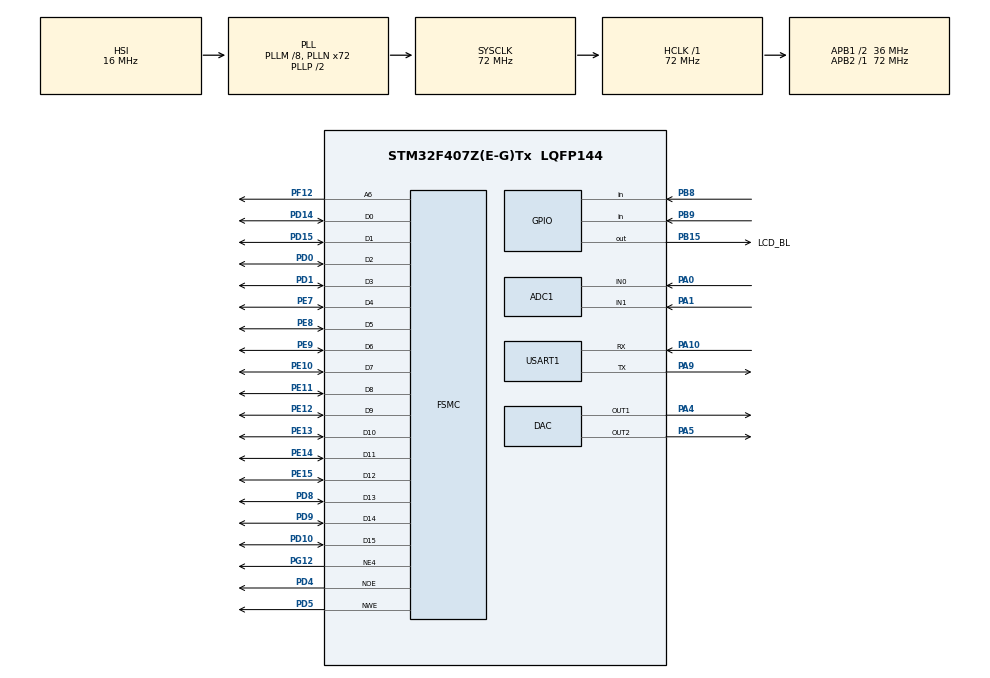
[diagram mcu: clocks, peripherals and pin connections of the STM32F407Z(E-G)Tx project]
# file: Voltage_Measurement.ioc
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ADC1.Channel-0\#ChannelRegularConversion=ADC_CHANNEL_0
ADC1.Channel-1\#ChannelRegularConversion=ADC_CHANNEL_1
ADC1.ContinuousConvMode=ENABLE
ADC1.DMAContinuousRequests=ENABLE
ADC1.NbrOfConversion=2
ADC1.NbrOfConversionFlag=1
ADC1.Rank-0\#ChannelRegularConversion=1
ADC1.Rank-1\#ChannelRegularConversion=2
ADC1.SamplingTime-0\#ChannelRegularConversion=ADC_SAMPLETIME_3CYCLES
ADC1.SamplingTime-1\#ChannelRegularConversion=ADC_SAMPLETIME_3CYCLES
ADC1.ScanConvMode=ENABLE
ADC1.master=1
Dma.ADC1.0.Direction=DMA_PERIPH_TO_MEMORY
Dma.ADC1.0.FIFOMode=DMA_FIFOMODE_DISABLE
Dma.ADC1.0.Instance=DMA2_Stream0
Dma.ADC1.0.MemDataAlignment=DMA_MDATAALIGN_WORD
Dma.ADC1.0.MemInc=DMA_MINC_ENABLE
Dma.ADC1.0.Mode=DMA_CIRCULAR
Dma.ADC1.0.PeriphDataAlignment=DMA_PDATAALIGN_WORD
Dma.ADC1.0.PeriphInc=DMA_PINC_DISABLE
Dma.ADC1.0.Priority=DMA_PRIORITY_LOW
Dma.Request0=ADC1
FSMC.BusTurnAroundDuration1=0
FSMC.DataSetupTime1=60
FSMC.ExtendedAddressSetupTime1=9
FSMC.ExtendedBusTurnAroundDuration1=0
FSMC.ExtendedDataSetupTime1=8
FSMC.ExtendedMode1=FSMC_EXTENDED_MODE_ENABLE
Mcu.Family=STM32F4
Mcu.Name=STM32F407Z(E-G)Tx
Mcu.Package=LQFP144
NVIC.DMA2_Stream0_IRQn=true\:0\:0\:false\:false\:true\:false\:true\:true
NVIC.PriorityGroup=NVIC_PRIORITYGROUP_4
PA0-WKUP.Signal=ADCx_IN0
PA1.Signal=ADCx_IN1
PA10.Mode=Asynchronous
PA10.Signal=USART1_RX
PA4.Signal=COMP_DAC1_group
PA5.Signal=COMP_DAC2_group
PA9.Mode=Asynchronous
PA9.Signal=USART1_TX
PB15.GPIO_Label=LCD_BL
PB15.GPIO_PuPd=GPIO_PULLUP
PB15.GPIO_Speed=GPIO_SPEED_FREQ_HIGH
PB15.Signal=GPIO_Output
PB8.GPIO_PuPd=GPIO_PULLUP
PB8.Signal=GPIO_Input
PB9.GPIO_PuPd=GPIO_PULLUP
PB9.Signal=GPIO_Input
PC14-OSC32_IN.Mode=LSE-External-Oscillator
PC14-OSC32_IN.Signal=RCC_OSC32_IN
PC15-OSC32_OUT.Mode=LSE-External-Oscillator
PC15-OSC32_OUT.Signal=RCC_OSC32_OUT
PD0.Signal=FSMC_D2_DA2
PD1.Signal=FSMC_D3_DA3
PD10.Signal=FSMC_D15_DA15
PD14.Signal=FSMC_D0_DA0
PD15.Signal=FSMC_D1_DA1
PD4.Signal=FSMC_NOE
PD5.Signal=FSMC_NWE
PD8.Signal=FSMC_D13_DA13
PD9.Signal=FSMC_D14_DA14
PE10.Signal=FSMC_D7_DA7
PE11.Signal=FSMC_D8_DA8
PE12.Signal=FSMC_D9_DA9
PE13.Signal=FSMC_D10_DA10
PE14.Signal=FSMC_D11_DA11
PE15.Signal=FSMC_D12_DA12
PE7.Signal=FSMC_D4_DA4
PE8.Signal=FSMC_D5_DA5
PE9.Signal=FSMC_D6_DA6
PF12.Signal=FSMC_A6
PG12.Mode=NorPsramChipSelect4_1
PG12.Signal=FSMC_NE4
PH0-OSC_IN.Mode=HSE-External-Oscillator
PH0-OSC_IN.Signal=RCC_OSC_IN
PH1-OSC_OUT.Mode=HSE-External-Oscillator
PH1-OSC_OUT.Signal=RCC_OSC_OUT
ProjectManager.HeapSize=0x200
ProjectManager.StackSize=0x400
ProjectManager.TargetToolchain=MDK-ARM V5.32
RCC.48MHZClocksFreq_Value=36000000
RCC.AHBFreq_Value=72000000
RCC.APB1CLKDivider=RCC_HCLK_DIV2
RCC.APB1Freq_Value=36000000
RCC.APB1TimFreq_Value=72000000
RCC.APB2Freq_Value=72000000
RCC.APB2TimFreq_Value=72000000
RCC.CortexFreq_Value=72000000
RCC.HCLKFreq_Value=72000000
RCC.HSE_VALUE=25000000
RCC.HSI_VALUE=16000000
RCC.PLLM=8
RCC.PLLN=72
RCC.SYSCLKFreq_VALUE=72000000
RCC.SYSCLKSource=RCC_SYSCLKSOURCE_PLLCLK
RCC.VCOOutputFreq_Value=144000000
SH.ADCx_IN0.0=ADC1_IN0,IN0
SH.ADCx_IN1.0=ADC1_IN1,IN1
SH.COMP_DAC1_group.0=DAC_OUT1,DAC_OUT1
SH.COMP_DAC2_group.0=DAC_OUT2,DAC_OUT2
SH.FSMC_A6.0=FSMC_A6,A6_1
SH.FSMC_D0_DA0.0=FSMC_D0,16b-d1
SH.FSMC_D10_DA10.0=FSMC_D10,16b-d1
SH.FSMC_D11_DA11.0=FSMC_D11,16b-d1
SH.FSMC_D12_DA12.0=FSMC_D12,16b-d1
SH.FSMC_D13_DA13.0=FSMC_D13,16b-d1
SH.FSMC_D14_DA14.0=FSMC_D14,16b-d1
SH.FSMC_D15_DA15.0=FSMC_D15,16b-d1
SH.FSMC_D1_DA1.0=FSMC_D1,16b-d1
SH.FSMC_D2_DA2.0=FSMC_D2,16b-d1
SH.FSMC_D3_DA3.0=FSMC_D3,16b-d1
SH.FSMC_D4_DA4.0=FSMC_D4,16b-d1
SH.FSMC_D5_DA5.0=FSMC_D5,16b-d1
SH.FSMC_D6_DA6.0=FSMC_D6,16b-d1
SH.FSMC_D7_DA7.0=FSMC_D7,16b-d1
SH.FSMC_D8_DA8.0=FSMC_D8,16b-d1
SH.FSMC_D9_DA9.0=FSMC_D9,16b-d1
SH.FSMC_NOE.0=FSMC_NOE,Lcd1
SH.FSMC_NWE.0=FSMC_NWE,Lcd1
USART1.VirtualMode=VM_ASYNC
board=custom

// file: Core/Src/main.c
/* USER CODE BEGIN Header */
/**
  ******************************************************************************
  * @file           : main.c
  * @brief          : Main program body
  ******************************************************************************
  * @attention
  *
  * Copyright (c) 2024 STMicroelectronics.
  * All rights reserved.
  *
  * This software is licensed under terms that can be found in the LICENSE file
  * in the root directory of this software component.
  * If no LICENSE file comes with this software, it is provided AS-IS.
  *
  ******************************************************************************
  */
/* USER CODE END Header */
#include "main.h"
#include "adc.h"
#include "dac.h"
#include "dma.h"
#include "usart.h"
#include "gpio.h"
#include "fsmc.h"

/* USER CODE BEGIN Includes */
#include "ILI93xx.h"
#include <stdio.h>
/* USER CODE END Includes */

/* USER CODE BEGIN PV */
float voltage[320];
int i;
void show_voltage(){
	int pre_x = 0;
	int pre_y = 0;
	int lcd_x;
	int lcd_y;
	LCD_Clear(WHITE);
    LCD_ShowString(45, 5, 16, 16, 16, "1V");
    LCD_ShowString(115, 5, 16, 16, 16, "2V");
    LCD_ShowString(165, 5, 16, 16, 16, "3V");
    LCD_ShowString(225, 5, 16, 16, 16, "4V");
	for(i = 319; i > -1; i--){
		lcd_x = voltage[i] * 60;
		lcd_y = 320 - i;
	    LCD_DrawLine(pre_x, pre_y, lcd_x, lcd_y);
		pre_x = lcd_x;
		pre_y = lcd_y;
	}
}

void input_voltage(float v){
	for(i = 0; i < 319; i++){
		voltage[i] = voltage[i+1];
	}
	voltage[319] = v;

}

uint8_t key_scan(void)
{
  uint8_t key = 0;

   if(HAL_GPIO_ReadPin(GPIOB,GPIO_PIN_8) == GPIO_PIN_RESET)
  {
    key = 1;
  }
  if(HAL_GPIO_ReadPin(GPIOB,GPIO_PIN_9) == GPIO_PIN_RESET)
  {
    key = 2;
  }
  return key;
}

int fputc(int ch,FILE *f)
{
    uint8_t temp[1]={ch};
    HAL_UART_Transmit(&huart1, temp, 1, 2);
	return ch;
}
/* USER CODE END PV */

void SystemClock_Config(void);

/* USER CODE BEGIN 0 */
uint32_t ADC_Value[100];
float ad1,ad2;
//float sin = 0;
//int direction = 1; // 1 ��ʾ���ӣ�-1 ��ʾ����
/* USER CODE END 0 */

int main(void)
{

  /* MCU Configuration--------------------------------------------------------*/

  /* Reset of all peripherals, Initializes the Flash interface and the Systick. */
  HAL_Init();

  /* Configure the system clock */
  SystemClock_Config();

  /* Initialize all configured peripherals */
  MX_GPIO_Init();
  MX_DMA_Init();
  MX_ADC1_Init();
  MX_DAC_Init();
  MX_FSMC_Init();
  MX_USART1_UART_Init();
  /* USER CODE BEGIN 2 */
  TFTLCD_Init();
  /* USER CODE END 2 */

  /* Infinite loop */
  /* USER CODE BEGIN WHILE */
  HAL_ADC_Start_DMA(&hadc1, (uint32_t*)&ADC_Value, 100);
  while (1)
  {
	for(i = 0,ad1 =0,ad2=0; i < 100;){
      ad1 += ADC_Value[i++];
      ad2 += ADC_Value[i++];
    }
    ad1 = (ad1/50)*3.3f/4096;
    ad2 = (ad2/50)*3.3f/4096;
	printf("%.5f \r\n", ad1);

	//sin += direction * 0.05;
    //if (sin >= 3.0f) {
    //    direction = -1; // ��Ϊ����
    //} else if (sin <= 0.1f) {
    //    direction = 1; // ��Ϊ����
	//}
	input_voltage(ad1);
	show_voltage();
    /* USER CODE END WHILE */

    /* USER CODE BEGIN 3 */
	HAL_Delay(1);
  }
  /* USER CODE END 3 */
}

void SystemClock_Config(void)
{
  RCC_OscInitTypeDef RCC_OscInitStruct = {0};
  RCC_ClkInitTypeDef RCC_ClkInitStruct = {0};

  /** Configure the main internal regulator output voltage
  */
  __HAL_RCC_PWR_CLK_ENABLE();
  __HAL_PWR_VOLTAGESCALING_CONFIG(PWR_REGULATOR_VOLTAGE_SCALE1);

  /** Initializes the RCC Oscillators according to the specified parameters
  * in the RCC_OscInitTypeDef structure.
  */
  RCC_OscInitStruct.OscillatorType = RCC_OSCILLATORTYPE_HSI;
  RCC_OscInitStruct.HSIState = RCC_HSI_ON;
  RCC_OscInitStruct.HSICalibrationValue = RCC_HSICALIBRATION_DEFAULT;
  RCC_OscInitStruct.PLL.PLLState = RCC_PLL_ON;
  RCC_OscInitStruct.PLL.PLLSource = RCC_PLLSOURCE_HSI;
  RCC_OscInitStruct.PLL.PLLM = 8;
  RCC_OscInitStruct.PLL.PLLN = 72;
  RCC_OscInitStruct.PLL.PLLP = RCC_PLLP_DIV2;
  RCC_OscInitStruct.PLL.PLLQ = 4;
  if (HAL_RCC_OscConfig(&RCC_OscInitStruct) != HAL_OK)
  {
    Error_Handler();
  }

  /** Initializes the CPU, AHB and APB buses clocks
  */
  RCC_ClkInitStruct.ClockType = RCC_CLOCKTYPE_HCLK|RCC_CLOCKTYPE_SYSCLK
                              |RCC_CLOCKTYPE_PCLK1|RCC_CLOCKTYPE_PCLK2;
  RCC_ClkInitStruct.SYSCLKSource = RCC_SYSCLKSOURCE_PLLCLK;
  RCC_ClkInitStruct.AHBCLKDivider = RCC_SYSCLK_DIV1;
  RCC_ClkInitStruct.APB1CLKDivider = RCC_HCLK_DIV2;
  RCC_ClkInitStruct.APB2CLKDivider = RCC_HCLK_DIV1;

  if (HAL_RCC_ClockConfig(&RCC_ClkInitStruct, FLASH_LATENCY_2) != HAL_OK)
  {
    Error_Handler();
  }
}

void Error_Handler(void)
{
  __disable_irq();
  while (1)
  {
  }
}
